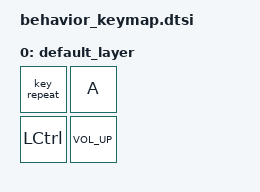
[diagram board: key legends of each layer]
#include <dt-bindings/zmk/keys.h>
#include <behaviors.dtsi>
#include <dt-bindings/zmk/kscan_mock.h>

/ {
    keymap {
        compatible = "zmk,keymap";

        default_layer {
            bindings = <
            &key_repeat &kp A
            &kp LCTRL &kp C_VOL_UP
            >;
        };
    };
};
